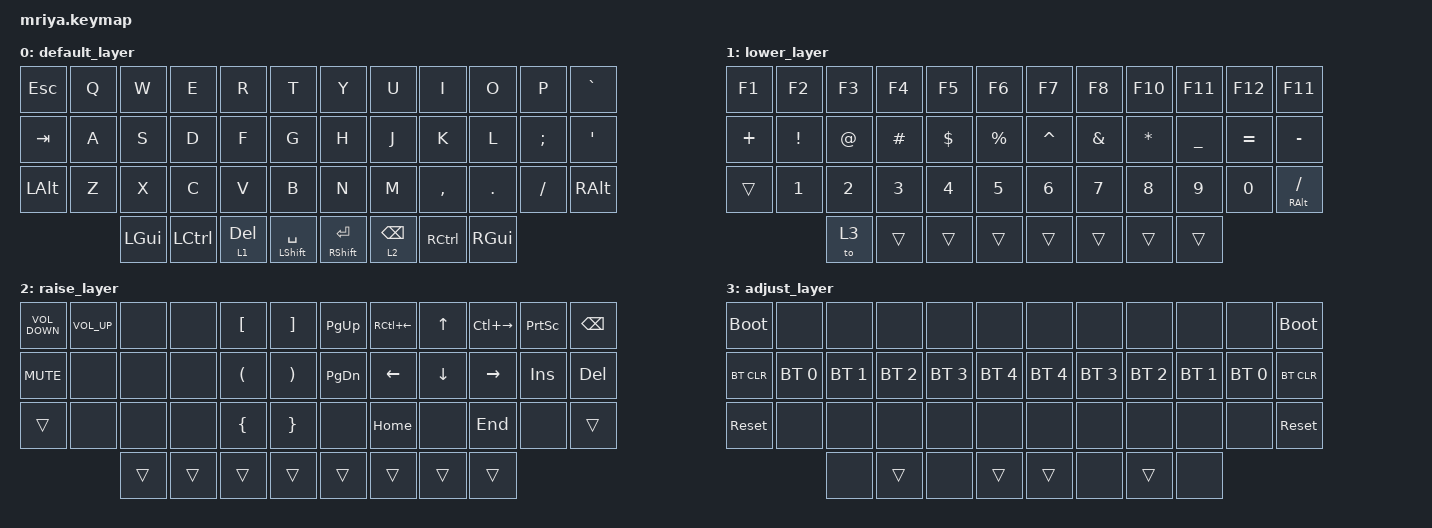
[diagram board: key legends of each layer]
/*
 * Copyright (c) 2023 Andrei Gaevskii
 *
 * SPDX-License-Identifier: MIT
 */

#include <behaviors.dtsi>
#include <dt-bindings/zmk/bt.h>
#include <dt-bindings/zmk/keys.h>

#define DEF 0
#define LWR 1
#define RSE 2
#define ADJ 3

&lt { quick_tap_ms = <200>; };

&mt { quick_tap_ms = <200>; };

/ {
    keymap {
        compatible = "zmk,keymap";

        default_layer {
            bindings = <
  &kp ESCAPE  &kp Q  &kp W     &kp E      &kp R         &kp T               &kp Y            &kp U            &kp I      &kp O     &kp P     &kp GRAVE
  &kp TAB     &kp A  &kp S     &kp D      &kp F         &kp G               &kp H            &kp J            &kp K      &kp L     &kp SEMI  &kp SQT
  &kp LALT    &kp Z  &kp X     &kp C      &kp V         &kp B               &kp N            &kp M            &kp COMMA  &kp DOT   &kp FSLH  &kp RALT
                     &kp LGUI  &kp LCTRL  &lt 1 DELETE  &mt LSHIFT SPACE    &mt RSHFT ENTER  &lt 2 BACKSPACE  &kp RCTRL  &kp RGUI
            >;
        };

        lower_layer {
            bindings = <
  &kp F1    &kp F2    &kp F3  &kp F4    &kp F5    &kp F6       &kp F7     &kp F8    &kp F10   &kp F11    &kp F12    &kp F11
  &kp PLUS  &kp EXCL  &kp AT  &kp HASH  &kp DLLR  &kp PRCNT    &kp CARET  &kp AMPS  &kp STAR  &kp UNDER  &kp EQUAL  &kp MINUS
  &trans    &kp N1    &kp N2  &kp N3    &kp N4    &kp N5       &kp N6     &kp N7    &kp N8    &kp N9     &kp N0     &mt RALT SLASH
                      &to 3   &trans    &trans    &trans       &trans     &trans    &trans    &trans
            >;
        };

        raise_layer {
            bindings = <
  &kp C_VOLUME_DOWN  &kp C_VOLUME_UP  &none   &none   &kp LEFT_BRACKET      &kp RIGHT_BRACKET        &kp PAGE_UP    &kp RC(LEFT)  &kp UP_ARROW    &kp LC(RIGHT)  &kp PRINTSCREEN  &kp BACKSPACE
  &kp K_MUTE         &none            &none   &none   &kp LEFT_PARENTHESIS  &kp RIGHT_PARENTHESIS    &kp PAGE_DOWN  &kp LEFT      &kp DOWN_ARROW  &kp RIGHT      &kp INS          &kp DEL
  &trans             &none            &none   &none   &kp LEFT_BRACE        &kp RIGHT_BRACE          &none          &kp HOME      &none           &kp END        &none            &trans
                                      &trans  &trans  &trans                &trans                   &trans         &trans        &trans          &trans
            >;
        };

        adjust_layer {
            bindings = <
  &bootloader  &none         &none         &none         &none         &none           &none         &none         &none         &none         &none         &bootloader
  &bt BT_CLR   &bt BT_SEL 0  &bt BT_SEL 1  &bt BT_SEL 2  &bt BT_SEL 3  &bt BT_SEL 4    &bt BT_SEL 4  &bt BT_SEL 3  &bt BT_SEL 2  &bt BT_SEL 1  &bt BT_SEL 0  &bt BT_CLR
  &sys_reset   &none         &none         &none         &none         &none           &none         &none         &none         &none         &none         &sys_reset
                             &none         &trans        &none         &trans          &trans        &none         &trans        &none
            >;
        };
    };
};
